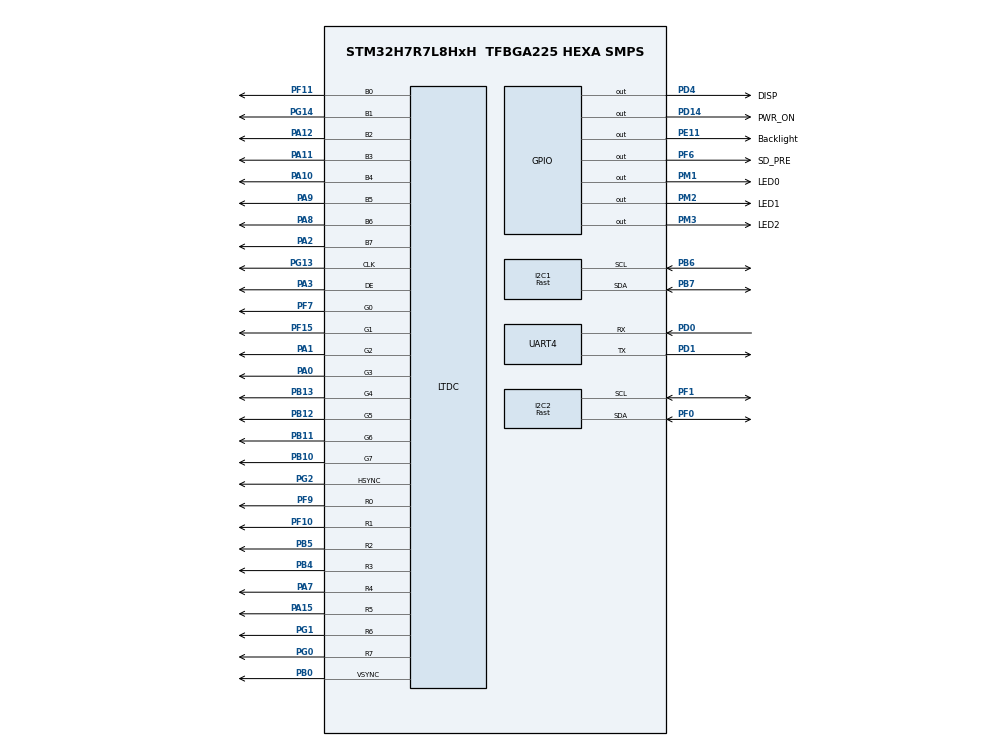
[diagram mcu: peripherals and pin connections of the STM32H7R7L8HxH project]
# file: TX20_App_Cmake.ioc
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Appli.IPs=CORTEX_M7_APPLI\:I,GPDMA1\:I,HPDMA1\:I,LINKEDLIST\:I,RCC\:I,GPIO,NVIC2\:I
Boot.IPs=CORTEX_M7_BOOT\:I,GPDMA1,HPDMA1,LINKEDLIST,RCC,GPIO,NVIC1\:I,FREERTOS\:I,SYS\:I,UART4,I2C1,I2C2,FLASH,DMA2D,LTDC,STMicroelectronics.X-CUBE-TOUCHGFX.4.25.0_Boot\:I,CRC
Boot.Pins=PM3,PM2,PM1,PD4,PE11,PF6,PD14
CORTEX_M7_APPLI.default_mode_Activation=1
CORTEX_M7_BOOT.default_mode_Activation=1
ExtMemLoader.IPs=EXTMEM_LOADER\:I,EXTMEM_MANAGER\:I,GPIO\:I
FREERTOS.Tasks01=defaultTask,24,128,StartDefaultTask,Default,NULL,Dynamic,NULL,NULL;ledTask,24,128,LedTask,Default,NULL,Dynamic,NULL,NULL;touchTask,24,256,TouchTask,Default,NULL,Dynamic,NULL,NULL;displayTask,24,512,DisplayTask,Default,NULL,Dynamic,NULL,NULL
I2C1.I2C_Speed_Mode=I2C_Fast
I2C1.Timing=0x00E063FF
I2C2.I2C_Speed_Mode=I2C_Fast
I2C2.Timing=0x00E063FF
LTDC.ActiveW=800
LTDC.Alpha0_L0=255
LTDC.Alpha_L0=1
LTDC.HBP=16
LTDC.HFP=16
LTDC.HSync=4
LTDC.ImageHeight_L0=480
LTDC.ImageWidth_L0=800
LTDC.Layers=0
LTDC.Red=255
LTDC.VBP=8
LTDC.VFP=8
LTDC.WindowX1_L0=800
LTDC.WindowY1_L0=480
Mcu.Family=STM32H7
Mcu.Name=STM32H7R7L8HxH
Mcu.Package=TFBGA225 HEXA SMPS
NVIC1.PriorityGroup=NVIC_PRIORITYGROUP_4
NVIC1.TIM6_IRQn=true\:15\:0\:false\:false\:true\:false\:false\:true\:true
NVIC1.TimeBase=TIM6_IRQn
NVIC1.TimeBaseIP=TIM6
NVIC2.PriorityGroup=NVIC_PRIORITYGROUP_4
PA0.Mode=RGB888
PA0.PinAttribute=Boot
PA0.Signal=LTDC_G3
PA1.Mode=RGB888
PA1.PinAttribute=Boot
PA1.Signal=LTDC_G2
PA10.Mode=RGB888
PA10.PinAttribute=Boot
PA10.Signal=LTDC_B4
PA11.Mode=RGB888
PA11.PinAttribute=Boot
PA11.Signal=LTDC_B3
PA12.Mode=RGB888
PA12.PinAttribute=Boot
PA12.Signal=LTDC_B2
PA15(JTDI).Mode=RGB888
PA15(JTDI).PinAttribute=Boot
PA15(JTDI).Signal=LTDC_R5
PA2.Mode=RGB888
PA2.PinAttribute=Boot
PA2.Signal=LTDC_B7
PA3.Mode=RGB888
PA3.PinAttribute=Boot
PA3.Signal=LTDC_DE
PA7.Mode=RGB888
PA7.PinAttribute=Boot
PA7.Signal=LTDC_R4
PA8.Mode=RGB888
PA8.PinAttribute=Boot
PA8.Signal=LTDC_B6
PA9.Mode=RGB888
PA9.PinAttribute=Boot
PA9.Signal=LTDC_B5
PB0.Mode=RGB888
PB0.PinAttribute=Boot
PB0.Signal=LTDC_VSYNC
PB10.Mode=RGB888
PB10.PinAttribute=Boot
PB10.Signal=LTDC_G7
PB11.Mode=RGB888
PB11.PinAttribute=Boot
PB11.Signal=LTDC_G6
PB12.Mode=RGB888
PB12.PinAttribute=Boot
PB12.Signal=LTDC_G5
PB13.Mode=RGB888
PB13.PinAttribute=Boot
PB13.Signal=LTDC_G4
PB4(NJTRST).Mode=RGB888
PB4(NJTRST).PinAttribute=Boot
PB4(NJTRST).Signal=LTDC_R3
PB5.Mode=RGB888
PB5.PinAttribute=Boot
PB5.Signal=LTDC_R2
PB6.Mode=I2C
PB6.PinAttribute=Boot
PB6.Signal=I2C1_SCL
PB7.Mode=I2C
PB7.PinAttribute=Boot
PB7.Signal=I2C1_SDA
PB8.PinAttribute=Boot
PB8.Signal=S_TIM4_CH3
PC1.PinAttribute=Boot
PC1.Signal=SDMMC2_CK
PD0.Mode=Asynchronous
PD0.PinAttribute=Boot
PD0.Signal=UART4_RX
PD1.Mode=Asynchronous
PD1.PinAttribute=Boot
PD1.Signal=UART4_TX
PD14.GPIO_Label=PWR_ON
PD14.PinAttribute=Boot
PD14.Signal=GPIO_Output
PD4.GPIO_Label=DISP
PD4.PinAttribute=Boot
PD4.Signal=GPIO_Output
PE11.GPIO_Label=Backlight
PE11.PinAttribute=Boot
PE11.Signal=GPIO_Output
PF0.Mode=I2C
PF0.PinAttribute=Boot
PF0.Signal=I2C2_SDA
PF1.Mode=I2C
PF1.PinAttribute=Boot
PF1.Signal=I2C2_SCL
PF10.Mode=RGB888
PF10.PinAttribute=Boot
PF10.Signal=LTDC_R1
PF11.Mode=RGB888
PF11.PinAttribute=Boot
PF11.Signal=LTDC_B0
PF15.Mode=RGB888
PF15.PinAttribute=Boot
PF15.Signal=LTDC_G1
PF6.GPIO_Label=SD_PRE
PF6.PinAttribute=Boot
PF6.Signal=GPIO_Output
PF7.Mode=RGB888
PF7.PinAttribute=Boot
PF7.Signal=LTDC_G0
PF9.Mode=RGB888
PF9.PinAttribute=Boot
PF9.Signal=LTDC_R0
PG0.Mode=RGB888
PG0.PinAttribute=Boot
PG0.Signal=LTDC_R7
PG1.Mode=RGB888
PG1.PinAttribute=Boot
PG1.Signal=LTDC_R6
PG11.PinAttribute=Boot
PG11.Signal=SDMMC2_D2
PG12.PinAttribute=Boot
PG12.Signal=SDMMC2_D3
PG13.Mode=RGB888
PG13.PinAttribute=Boot
PG13.Signal=LTDC_CLK
PG14.Mode=RGB888
PG14.PinAttribute=Boot
PG14.Signal=LTDC_B1
PG2.Mode=RGB888
PG2.PinAttribute=Boot
PG2.Signal=LTDC_HSYNC
PH0-OSC_IN(PH0).Mode=HSE-External-Oscillator
PH0-OSC_IN(PH0).PinAttribute=Free
PH0-OSC_IN(PH0).Signal=RCC_OSC_IN
PH1-OSC_OUT(PH1).Mode=HSE-External-Oscillator
PH1-OSC_OUT(PH1).PinAttribute=Free
PH1-OSC_OUT(PH1).Signal=RCC_OSC_OUT
PM1.GPIO_Label=LED0
PM1.PinAttribute=Boot
PM1.Signal=GPIO_Output
PM2.GPIO_Label=LED1
PM2.PinAttribute=Boot
PM2.Signal=GPIO_Output
PM3.GPIO_Label=LED2
PM3.PinAttribute=Boot
PM3.Signal=GPIO_Output
ProjectManager.HeapSize=App-0x200,Boot-0x200,ExtMemLoader-0x200
ProjectManager.StackSize=App-0x400,Boot-0x400,ExtMemLoader-0x400
ProjectManager.TargetToolchain=CMake
RCC.ADCFreq_Value=252000000
RCC.APB1Freq_Value=150000000
RCC.APB2Freq_Value=150000000
RCC.APB4Freq_Value=150000000
RCC.BMPRE=RCC_HCLK_DIV2
RCC.CortexFreq_Value=600000000
RCC.DIVM1=2
RCC.DIVM2=4
RCC.DIVM3=2
RCC.DIVN1=50
RCC.DIVN2=84
RCC.DIVN3=50
RCC.DIVP1=1
RCC.DIVR3=24
RCC.DIVS2=3
RCC.DIVT2=3
RCC.HCLKFreq_Value=300000000
RCC.PLL2FRACN=0
RCC.PLLFRACN=0
RCC.PLLSource=RCC_PLLSOURCE_HSE
RCC.PPRE1=RCC_APB1_DIV2
RCC.PPRE2=RCC_APB2_DIV2
RCC.PPRE4=RCC_APB4_DIV2
RCC.PPRE5=RCC_APB5_DIV2
RCC.SYSCLKFreq_VALUE=600000000
RCC.SYSCLKSource=RCC_SYSCLKSOURCE_PLLCLK
SH.S_TIM4_CH3.0=TIM4_CH3
STMicroelectronics.X-CUBE-TOUCHGFX.4.25.0_Boot.ApplicationCcGraphicsJjApplication=TouchGFXOoGenerator
STMicroelectronics.X-CUBE-TOUCHGFX.4.25.0_Boot.tgfx_address1=0x90000000
STMicroelectronics.X-CUBE-TOUCHGFX.4.25.0_Boot.tgfx_address2=0x90020000
STMicroelectronics.X-CUBE-TOUCHGFX.4.25.0_Boot.tgfx_buffering_strategy=Double
STMicroelectronics.X-CUBE-TOUCHGFX.4.25.0_Boot.tgfx_display_interface=disp_ltdc
STMicroelectronics.X-CUBE-TOUCHGFX.4.25.0_Boot.tgfx_location=By Address
STMicroelectronics.X-CUBE-TOUCHGFX.4.25.0_Boot.tgfx_pixel_format=ARGB8888\:32
STMicroelectronics.X-CUBE-TOUCHGFX.4.25.0_Boot.tgfx_vsync=vsync_ltdc
STMicroelectronics.X-CUBE-TOUCHGFX.4.25.0_IsPackSelfContextualization=true
VP_CRC_VS_CRC.Mode=CRC_Activate
VP_DMA2D_VS_DMA2D.Mode=DMA2D_Activate
VP_FLASH_SIG_Activate_FlashIP.Mode=Activate_FlashIP
VP_FREERTOS_VS_CMSIS_V2.Mode=CMSIS_V2
VP_STMicroelectronics.X-CUBE-TOUCHGFX_Boot_VS_GraphicsJjApplication_4.25.0.Mode=GraphicsJjApplication
VP_SYS_VS_tim6.Mode=TIM6
board=custom

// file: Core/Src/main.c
/* USER CODE BEGIN Header */
/**
  ******************************************************************************
  * @file           : main.c
  * @brief          : Main program body
  ******************************************************************************
  * @attention
  *
  * Copyright (c) 2025 STMicroelectronics.
  * All rights reserved.
  *
  * This software is licensed under terms that can be found in the LICENSE file
  * in the root directory of this software component.
  * If no LICENSE file comes with this software, it is provided AS-IS.
  *
  ******************************************************************************
  */
/* USER CODE END Header */
#include "main.h"
#include "FreeRTOS.h"
#include "cmsis_os2.h"
#include "dma2d.h"
#include "flash.h"
#include "i2c.h"
#include "ltdc.h"
#include "sdmmc.h"
#include "spi.h"
#include "usart.h"
#include "usb_otg.h"
#include "gpio.h"

/* USER CODE BEGIN Includes */
#include "gt911_driver.h"
#include "sdmmc_sdcard.h"
#include "spi_sdcard.h"
#include "usbd_core.h"
#include "usbd_desc.h"
#include "usbd_msc.h"
#include "usbd_msc_storage.h"
/* USER CODE END Includes */

/* USER CODE BEGIN PTD */
/* USBD句柄 */
USBD_HandleTypeDef g_usbd_handle = {0};
/* USER CODE END PTD */

void SystemClock_Config(void);
static void MPU_Config(void);
void MX_FREERTOS_Init(void);

int main(void)
{

  /* USER CODE BEGIN 1 */
    SCB->VTOR = XSPI2_BASE;
  /* USER CODE END 1 */

  /* MPU Configuration--------------------------------------------------------*/
  MPU_Config();

  /* MCU Configuration--------------------------------------------------------*/

  /* Reset of all peripherals, Initializes the Flash interface and the Systick. */
  HAL_Init();

  /* Configure the system clock */
  SystemClock_Config();

  /* Initialize all configured peripherals */
  MX_GPIO_Init();
  MX_UART4_Init();
  MX_FLASH_Init();
  MX_I2C1_Init();
  MX_I2C2_Init();
  MX_DMA2D_Init();
  MX_LTDC_Init();
//   MX_SDMMC2_SDIO_Init();
//   MX_SPI4_Init();
  /* USER CODE BEGIN 2 */
  HAL_GPIO_WritePin(PWR_ON_GPIO_Port, PWR_ON_Pin,GPIO_PIN_SET);
  HAL_GPIO_WritePin(DISP_GPIO_Port, DISP_Pin,GPIO_PIN_SET);
  HAL_GPIO_WritePin(Backlight_GPIO_Port, Backlight_Pin,GPIO_PIN_SET);
//   gt911_init();
  uart4_send_string("Into APP!\n");
  HAL_GPIO_WritePin(GPIOM, LED2_Pin | LED1_Pin | LED0_Pin, GPIO_PIN_RESET);
#if 0
  spi_sdcard_init();
   HAL_Delay(100);
    show_spi_sdcard_info();
#else
  sd_init();
  HAL_Delay(100);
  show_sdcard_info();
#endif

    USBD_Init(&g_usbd_handle, &MSC_Desc, DEVICE_HS);
    USBD_RegisterClass(&g_usbd_handle, USBD_MSC_CLASS);
    USBD_MSC_RegisterStorage(&g_usbd_handle, &USBD_MSC_fops);
    USBD_Start(&g_usbd_handle);
  /* USER CODE END 2 */

  /* Init scheduler */
  osKernelInitialize();  /* Call init function for freertos objects (in cmsis_os2.c) */
  MX_FREERTOS_Init();

  /* Start scheduler */
  osKernelStart();

  /* We should never get here as control is now taken by the scheduler */

  /* Infinite loop */
  while (1)
  {

  }
}

void SystemClock_Config(void)
{
  RCC_OscInitTypeDef RCC_OscInitStruct = {0};
  RCC_ClkInitTypeDef RCC_ClkInitStruct = {0};

  /** Configure the main internal regulator output voltage
  */
  if (HAL_PWREx_ControlVoltageScaling(PWR_REGULATOR_VOLTAGE_SCALE0) != HAL_OK)
  {
    Error_Handler();
  }

  /** Initializes the RCC Oscillators according to the specified parameters
  * in the RCC_OscInitTypeDef structure.
  */
  RCC_OscInitStruct.OscillatorType = RCC_OSCILLATORTYPE_HSI48|RCC_OSCILLATORTYPE_HSE;
  RCC_OscInitStruct.HSEState = RCC_HSE_ON;
  RCC_OscInitStruct.HSI48State = RCC_HSI48_ON;
  RCC_OscInitStruct.PLL1.PLLState = RCC_PLL_ON;
  RCC_OscInitStruct.PLL1.PLLSource = RCC_PLLSOURCE_HSE;
  RCC_OscInitStruct.PLL1.PLLM = 2;
  RCC_OscInitStruct.PLL1.PLLN = 50;
  RCC_OscInitStruct.PLL1.PLLP = 1;
  RCC_OscInitStruct.PLL1.PLLQ = 2;
  RCC_OscInitStruct.PLL1.PLLR = 2;
  RCC_OscInitStruct.PLL1.PLLS = 2;
  RCC_OscInitStruct.PLL1.PLLT = 2;
  RCC_OscInitStruct.PLL1.PLLFractional = 0;
  RCC_OscInitStruct.PLL2.PLLState = RCC_PLL_ON;
  RCC_OscInitStruct.PLL2.PLLSource = RCC_PLLSOURCE_HSE;
  RCC_OscInitStruct.PLL2.PLLM = 4;
  RCC_OscInitStruct.PLL2.PLLN = 84;
  RCC_OscInitStruct.PLL2.PLLP = 2;
  RCC_OscInitStruct.PLL2.PLLQ = 2;
  RCC_OscInitStruct.PLL2.PLLR = 2;
  RCC_OscInitStruct.PLL2.PLLS = 3;
  RCC_OscInitStruct.PLL2.PLLT = 3;
  RCC_OscInitStruct.PLL2.PLLFractional = 0;
  RCC_OscInitStruct.PLL3.PLLState = RCC_PLL_ON;
  RCC_OscInitStruct.PLL3.PLLSource = RCC_PLLSOURCE_HSE;
  RCC_OscInitStruct.PLL3.PLLM = 2;
  RCC_OscInitStruct.PLL3.PLLN = 50;
  RCC_OscInitStruct.PLL3.PLLP = 2;
  RCC_OscInitStruct.PLL3.PLLQ = 2;
  RCC_OscInitStruct.PLL3.PLLR = 24;
  RCC_OscInitStruct.PLL3.PLLS = 2;
  RCC_OscInitStruct.PLL3.PLLT = 2;
  RCC_OscInitStruct.PLL3.PLLFractional = 0;

  if (HAL_RCC_OscConfig(&RCC_OscInitStruct) != HAL_OK)
  {
    Error_Handler();
  }

  /** Initializes the CPU, AHB and APB buses clocks
  */
  RCC_ClkInitStruct.ClockType = RCC_CLOCKTYPE_HCLK|RCC_CLOCKTYPE_SYSCLK
                              |RCC_CLOCKTYPE_PCLK1|RCC_CLOCKTYPE_PCLK2
                              |RCC_CLOCKTYPE_PCLK4|RCC_CLOCKTYPE_PCLK5;
  RCC_ClkInitStruct.SYSCLKSource = RCC_SYSCLKSOURCE_PLLCLK;
  RCC_ClkInitStruct.SYSCLKDivider = RCC_SYSCLK_DIV1;
  RCC_ClkInitStruct.AHBCLKDivider = RCC_HCLK_DIV2;
  RCC_ClkInitStruct.APB1CLKDivider = RCC_APB1_DIV2;
  RCC_ClkInitStruct.APB2CLKDivider = RCC_APB2_DIV2;
  RCC_ClkInitStruct.APB4CLKDivider = RCC_APB4_DIV2;
  RCC_ClkInitStruct.APB5CLKDivider = RCC_APB5_DIV2;

  if (HAL_RCC_ClockConfig(&RCC_ClkInitStruct, FLASH_LATENCY_7) != HAL_OK)
  {
    Error_Handler();
  }
}

 /* MPU Configuration */

static void MPU_Config(void)
{
  MPU_Region_InitTypeDef MPU_InitStruct = {0};

  /* Disables the MPU */
  HAL_MPU_Disable();

  /** Initializes and configures the Region and the memory to be protected
  */
  MPU_InitStruct.Enable = MPU_REGION_ENABLE;
  MPU_InitStruct.Number = MPU_REGION_NUMBER0;
  MPU_InitStruct.BaseAddress = 0x0;
  MPU_InitStruct.Size = MPU_REGION_SIZE_4GB;
  MPU_InitStruct.SubRegionDisable = 0x87;
  MPU_InitStruct.TypeExtField = MPU_TEX_LEVEL0;
  MPU_InitStruct.AccessPermission = MPU_REGION_NO_ACCESS;
  MPU_InitStruct.DisableExec = MPU_INSTRUCTION_ACCESS_DISABLE;
  MPU_InitStruct.IsShareable = MPU_ACCESS_SHAREABLE;
  MPU_InitStruct.IsCacheable = MPU_ACCESS_NOT_CACHEABLE;
  MPU_InitStruct.IsBufferable = MPU_ACCESS_NOT_BUFFERABLE;

  HAL_MPU_ConfigRegion(&MPU_InitStruct);
  /* Enables the MPU */
  HAL_MPU_Enable(MPU_PRIVILEGED_DEFAULT);

}

void HAL_TIM_PeriodElapsedCallback(TIM_HandleTypeDef *htim)
{
  if (htim->Instance == TIM6) {
    HAL_IncTick();
  }
}

void Error_Handler(void)
{
  __disable_irq();
  while (1)
  {
  }
}

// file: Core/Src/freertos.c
/* USER CODE BEGIN Header */
/**
  ******************************************************************************
  * File Name          : freertos.c
  * Description        : Code for freertos applications
  ******************************************************************************
  * @attention
  *
  * Copyright (c) 2025 STMicroelectronics.
  * All rights reserved.
  *
  * This software is licensed under terms that can be found in the LICENSE file
  * in the root directory of this software component.
  * If no LICENSE file comes with this software, it is provided AS-IS.
  *
  ******************************************************************************
  */
/* USER CODE END Header */

#include "FreeRTOS.h"
#include "task.h"
#include "main.h"
#include "FreeRTOS.h"
#include "cmsis_os2.h"

/* USER CODE BEGIN Includes */
#include "usart.h"
#include "led_driver.h"
#include "gt911_driver.h"
/* USER CODE END Includes */

/* Definitions for defaultTask */
osThreadId_t defaultTaskHandle;
const osThreadAttr_t defaultTask_attributes = {
  .name = "defaultTask",
  .stack_size = 128 * 4,
  .priority = (osPriority_t) osPriorityNormal,
};
/* Definitions for ledTask */
osThreadId_t ledTaskHandle;
const osThreadAttr_t ledTask_attributes = {
  .name = "ledTask",
  .stack_size = 128 * 4,
  .priority = (osPriority_t) osPriorityNormal,
};
/* Definitions for touchTask */
osThreadId_t touchTaskHandle;
const osThreadAttr_t touchTask_attributes = {
  .name = "touchTask",
  .stack_size = 256 * 4,
  .priority = (osPriority_t) osPriorityNormal,
};
/* Definitions for displayTask */
osThreadId_t displayTaskHandle;
const osThreadAttr_t displayTask_attributes = {
  .name = "displayTask",
  .stack_size = 512 * 4,
  .priority = (osPriority_t) osPriorityNormal,
};

void StartDefaultTask(void *argument);
void LedTask(void *argument);
void TouchTask(void *argument);
void DisplayTask(void *argument);

void MX_FREERTOS_Init(void); /* (MISRA C 2004 rule 8.1) */

void MX_FREERTOS_Init(void) {
  /* USER CODE BEGIN Init */
  gt911_init();
    uart4_send_string("Into MX_FREERTOS_Init!\n");
  /* USER CODE END Init */

  /* Create the thread(s) */
  /* creation of defaultTask */
  defaultTaskHandle = osThreadNew(StartDefaultTask, NULL, &defaultTask_attributes);

  /* creation of ledTask */
  ledTaskHandle = osThreadNew(LedTask, NULL, &ledTask_attributes);

  /* creation of touchTask */
  touchTaskHandle = osThreadNew(TouchTask, NULL, &touchTask_attributes);

  /* creation of displayTask */
  displayTaskHandle = osThreadNew(DisplayTask, NULL, &displayTask_attributes);

}

void StartDefaultTask(void *argument)
{
  /* USER CODE BEGIN StartDefaultTask */
  uart4_send_string("StartDefaultTask!\n");
  /* Infinite loop */
  for(;;)
  {
    osDelay(1);
  }
  /* USER CODE END StartDefaultTask */
}

void LedTask(void *argument) {

  /* USER CODE BEGIN LedTask */
  uart4_send_string("LedTask!\n");
    // uint32_t preTime = xTaskGetTickCount();
  /* Infinite loop */
  for (;;) {
    // led_loopbink();
    uart4_send_string("LedTask!\n");
    // vTaskDelayUntil(&preTime, 399);
    osDelay(400);
  }
  /* USER CODE END LedTask */
}

void TouchTask(void *argument)
{
  /* USER CODE BEGIN TouchTask */
  uart4_send_string("TouchTask!\n");
    //   uint32_t preTime = xTaskGetTickCount();
  /* Infinite loop */
  for (;;) {
        //     gt911_get_state(&Touch);
        // if(Touch.TouchDetected)
        // {
        //     debug_tx4("X:%d,Y:%d\n",Touch.X,Touch.Y);
        // }
    // vTaskDelayUntil(&preTime, 19);
  }
  /* USER CODE END TouchTask */
}

void DisplayTask(void *argument)
{
  /* USER CODE BEGIN DisplayTask */
  uart4_send_string("DisplayTask!\n");
  /* Infinite loop */
  for(;;)
  {
    osDelay(1);
  }
  /* USER CODE END DisplayTask */
}
